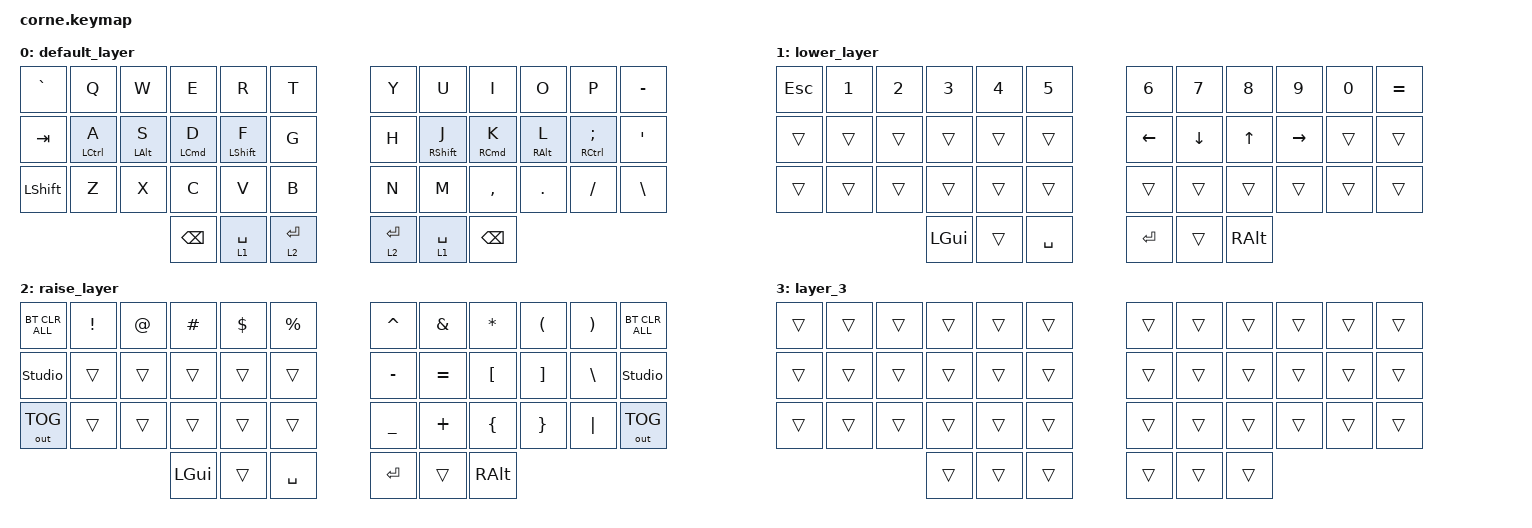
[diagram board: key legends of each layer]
// #include "../../../corne.keymap"
/*
 * Copyright (c) 2020 The ZMK Contributors
 *
 * SPDX-License-Identifier: MIT
 */

#include <behaviors.dtsi>
#include <dt-bindings/zmk/bt.h>
#include <dt-bindings/zmk/keys.h>
#include <dt-bindings/zmk/outputs.h>

/ {
    keymap {
        compatible = "zmk,keymap";

        default_layer {
            // -----------------------------------------------------------------------------------------
            // |  TAB |  Q  |  W  |  E  |  R  |  T  |   |  Y  |  U   |  I  |  O  |  P  | BKSP |
            // | CTRL |  A  |  S  |  D  |  F  |  G  |   |  H  |  J   |  K  |  L  |  ;  |  '   |
            // | SHFT |  Z  |  X  |  C  |  V  |  B  |   |  N  |  M   |  ,  |  .  |  /  | ESC  |
            //                    | GUI | LWR | SPC |   | ENT | RSE  | ALT |

            bindings = <
&kp GRAVE  &kp Q        &kp W           &kp E               &kp R             &kp T          &kp Y        &kp U              &kp I                &kp O            &kp P           &kp MINUS
&kp TAB    &mt LCTRL A  &mt LEFT_ALT S  &mt LEFT_COMMAND D  &mt LEFT_SHIFT F  &kp G          &kp H        &mt RIGHT_SHIFT J  &mt RIGHT_COMMAND K  &mt RIGHT_ALT L  &mt RCTRL SEMI  &kp SQT
&kp LSHFT  &kp Z        &kp X           &kp C               &kp V             &kp B          &kp N        &kp M              &kp COMMA            &kp DOT          &kp FSLH        &kp BACKSLASH
                                        &kp BACKSPACE       &lt 1 SPACE       &lt 2 ENTER    &lt 2 ENTER  &lt 1 SPACE        &kp BACKSPACE
            >;
        };

        lower_layer {
            // -----------------------------------------------------------------------------------------
            // |  TAB |  1  |  2  |  3  |  4  |  5  |   |  6  |  7  |  8  |  9  |  0  | BKSP |
            // | BTCLR| BT1 | BT2 | BT3 | BT4 | BT5 |   | LFT | DWN |  UP | RGT |     |      |
            // | SHFT |     |     |     |     |     |   |     |     |     |     |     |      |
            //                    | GUI |     | SPC |   | ENT |     | ALT |

            bindings = <
&kp ESCAPE  &kp N1  &kp N2  &kp N3    &kp N4  &kp N5       &kp N6    &kp N7    &kp N8    &kp N9     &kp N0  &kp EQUAL
&trans      &trans  &trans  &trans    &trans  &trans       &kp LEFT  &kp DOWN  &kp UP    &kp RIGHT  &trans  &trans
&trans      &trans  &trans  &trans    &trans  &trans       &trans    &trans    &trans    &trans     &trans  &trans
                            &kp LGUI  &trans  &kp SPACE    &kp RET   &trans    &kp RALT
            >;
        };

        raise_layer {
            // -----------------------------------------------------------------------------------------
            // |  TAB |  !  |  @  |  #  |  $  |  %  |   |  ^  |  &  |  *  |  (  |  )  | BKSP |
            // | CTRL |     |     |     |     |     |   |  -  |  =  |  [  |  ]  |  \  |  `   |
            // | SHFT |     |     |     |     |     |   |  _  |  +  |  {  |  }  | "|" |  ~   |
            //                    | GUI |     | SPC |   | ENT |     | ALT |

            bindings = <
&bt BT_CLR_ALL  &kp EXCL  &kp AT  &kp HASH  &kp DLLR  &kp PRCNT    &kp CARET  &kp AMPS   &kp ASTRK  &kp LPAR  &kp RPAR  &bt BT_CLR_ALL
&studio_unlock  &trans    &trans  &trans    &trans    &trans       &kp MINUS  &kp EQUAL  &kp LBKT   &kp RBKT  &kp BSLH  &studio_unlock
&out OUT_TOG    &trans    &trans  &trans    &trans    &trans       &kp UNDER  &kp PLUS   &kp LBRC   &kp RBRC  &kp PIPE  &out OUT_TOG
                                  &kp LGUI  &trans    &kp SPACE    &kp RET    &trans     &kp RALT
            >;
        };

        layer_3 {
            bindings = <
&trans  &trans  &trans  &trans  &trans  &trans    &trans  &trans  &trans  &trans  &trans  &trans
&trans  &trans  &trans  &trans  &trans  &trans    &trans  &trans  &trans  &trans  &trans  &trans
&trans  &trans  &trans  &trans  &trans  &trans    &trans  &trans  &trans  &trans  &trans  &trans
                        &trans  &trans  &trans    &trans  &trans  &trans
            >;
        };
    };
};
